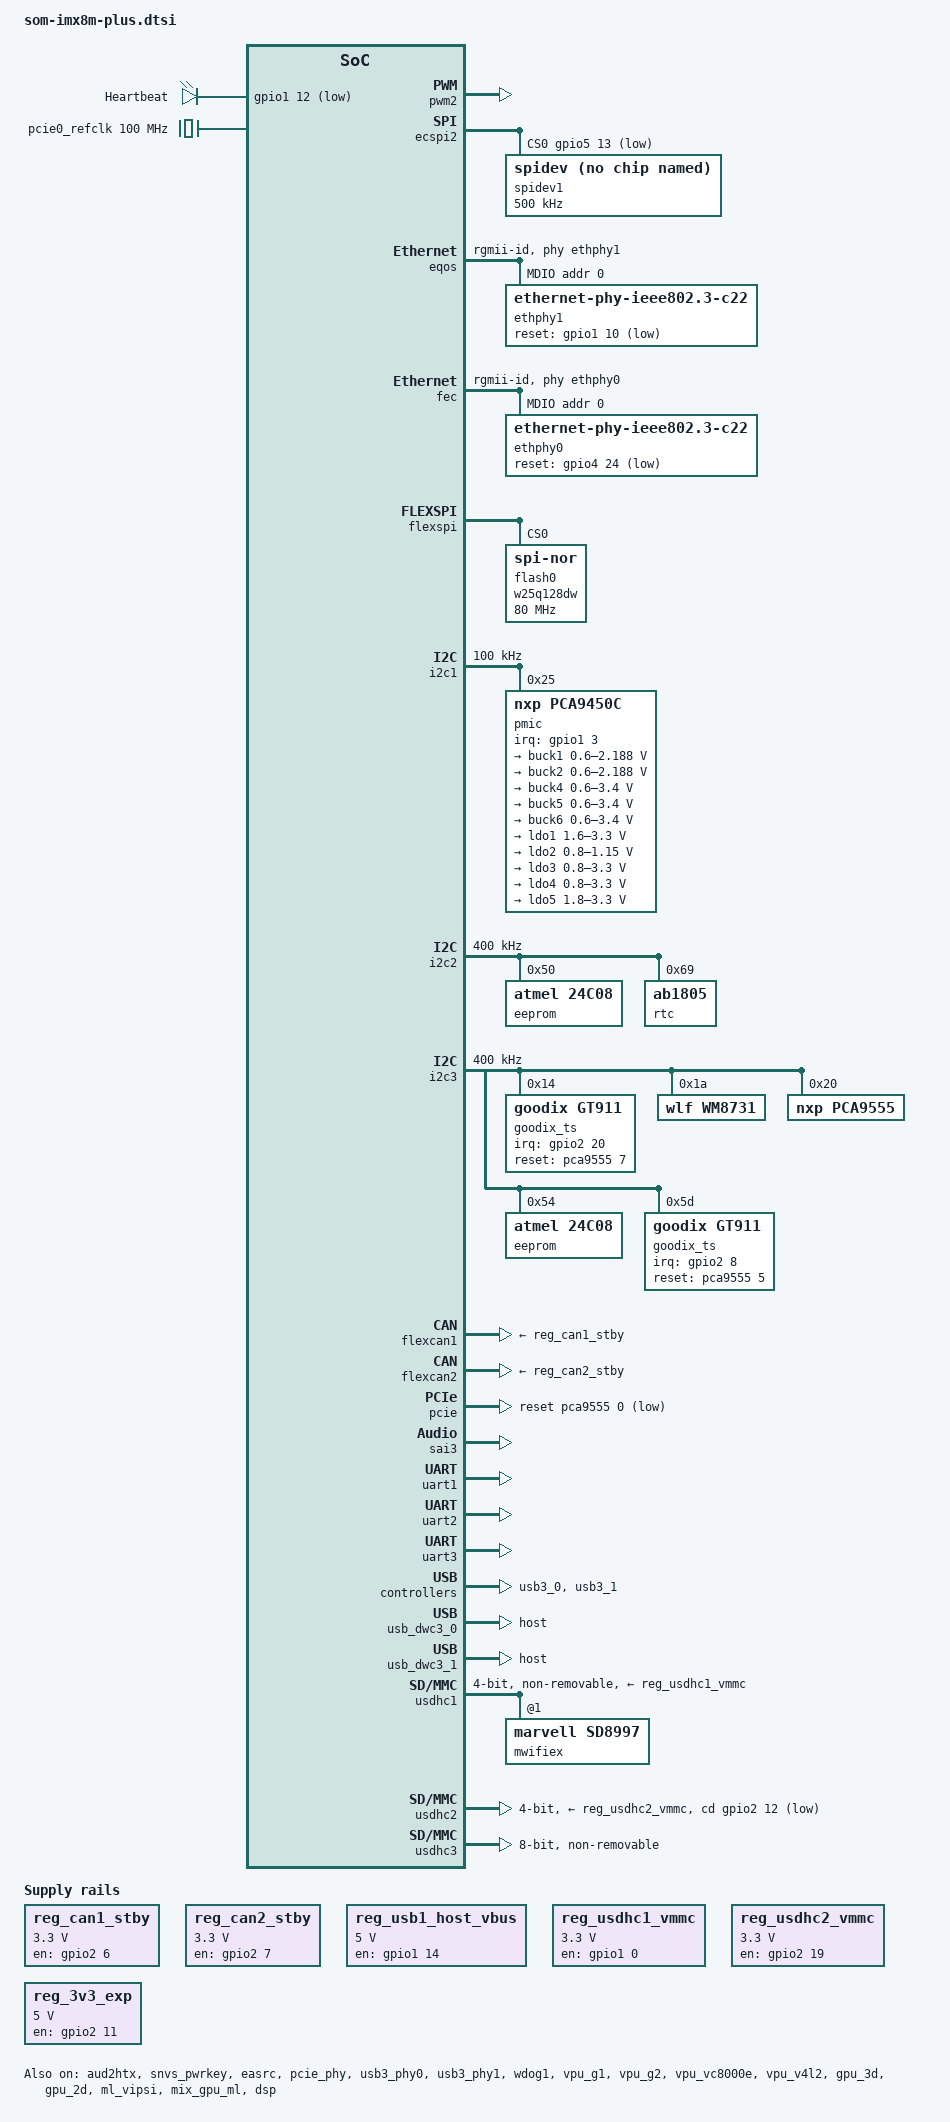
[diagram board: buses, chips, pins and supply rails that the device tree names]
// SPDX-License-Identifier: (GPL-2.0+ OR MIT)
/*
 * Copyright 2021 CompuLab
 */

#include <dt-bindings/phy/phy-imx8-pcie.h>

/ {
	aliases {
		ethphy0 = &ethphy0;
		ethphy1 = &ethphy1;
	};

	chosen {
		stdout-path = &uart2;
	};

	leds {
		compatible = "gpio-leds";
		pinctrl-names = "default";
		pinctrl-0 = <&pinctrl_gpio_led>;

		heartbeat-led {
			label = "Heartbeat";
			gpios = <&gpio1 12 GPIO_ACTIVE_LOW>;
			linux,default-trigger = "heartbeat";
		};
	};

	reg_can1_stby: regulator-can1-stby {
		compatible = "regulator-fixed";
		regulator-name = "can1-stby";
		pinctrl-names = "default";
		pinctrl-0 = <&pinctrl_flexcan1_reg>;
		regulator-min-microvolt = <3300000>;
		regulator-max-microvolt = <3300000>;
		gpio = <&gpio2 6 GPIO_ACTIVE_HIGH>;
		enable-active-high;
	};

	reg_can2_stby: regulator-can2-stby {
		compatible = "regulator-fixed";
		regulator-name = "can2-stby";
		pinctrl-names = "default";
		pinctrl-0 = <&pinctrl_flexcan2_reg>;
		regulator-min-microvolt = <3300000>;
		regulator-max-microvolt = <3300000>;
		gpio = <&gpio2 7 GPIO_ACTIVE_HIGH>;
		enable-active-high;
	};

	reg_usb1_host_vbus: regulator-usb1-vbus {
		compatible = "regulator-fixed";
		regulator-name = "usb1_host_vbus";
		pinctrl-names = "default";
		pinctrl-0 = <&pinctrl_usb1_vbus>;
		regulator-min-microvolt = <5000000>;
		regulator-max-microvolt = <5000000>;
		gpio = <&gpio1 14 GPIO_ACTIVE_HIGH>;
		enable-active-high;
		regulator-always-on;
	};

	reg_usdhc1_vmmc: regulator-usdhc1 {
		compatible = "regulator-fixed";
		regulator-name = "usdhc1_vmmc";
		regulator-min-microvolt = <3300000>;
		regulator-max-microvolt = <3300000>;
		gpio = <&gpio1 0 GPIO_ACTIVE_HIGH>;
		enable-active-high;
		startup-delay-us = <100>;
		off-on-delay-us = <12000>;
	};

	reg_usdhc2_vmmc: regulator-usdhc2 {
		compatible = "regulator-fixed";
		regulator-name = "VSD_3V3";
		regulator-min-microvolt = <3300000>;
		regulator-max-microvolt = <3300000>;
		gpio = <&gpio2 19 GPIO_ACTIVE_HIGH>;
		enable-active-high;
		startup-delay-us = <100>;
		off-on-delay-us = <12000>;
	};

	reg_3v3_exp: regulator-3v3-exp {
		compatible = "regulator-fixed";
		regulator-name = "3V3_EXP";
		pinctrl-names = "default";
		pinctrl-0 = <&pinctrl_3v3_exp>;
		regulator-min-microvolt = <5000000>;
		regulator-max-microvolt = <5000000>;
		gpio = <&gpio2 11 GPIO_ACTIVE_HIGH>;
		enable-active-high;
		regulator-always-on;
	};

	sound-hdmi {
		compatible = "fsl,imx-audio-hdmi";
		model = "audio-hdmi";
		audio-cpu = <&aud2htx>;
		hdmi-out;
		constraint-rate = <44100>,
				<88200>,
				<176400>,
				<32000>,
				<48000>,
				<96000>,
				<192000>;
		status = "okay";
	};

	sound-micfil {
		compatible = "fsl,imx-audio-card";
		model = "imx-audio-micfil";
		pri-dai-link {
			link-name = "micfil hifi";
			format = "i2s";
			cpu {
				sound-dai = <&micfil>;
			};
		};
	};

	sound-xcvr {
		compatible = "fsl,imx-audio-card";
		model = "imx-audio-xcvr";
		pri-dai-link {
			link-name = "XCVR PCM";
			cpu {
				sound-dai = <&xcvr>;
			};
		};
	};

	dsi_backlight: dsi_backlight {
		compatible = "pwm-backlight";
		pwms = <&pwm1 0 3000000 0>;

		brightness-levels = <0 1 2 3 4 5 6 7 8 9 10 11 12 13 14 15 16
					17 18 19 20 21 22 23 24 25 26 27 28 29 30 31 32
					33 34 35 36 37 38 39 40 41 42 43 44 45 46 47 48
					49 50 51 52 53 54 55 56 57 58 59 60 61 62 63 64
					65 66 67 68 69 70 71 72 73 74 75 76 77 78 79 80
					81 82 83 84 85 86 87 88 89 90 91 92 93 94 95 96
					97 98 99 100 101 102 103 104 105 106 107 108 109 110 111 112
					113 114 115 116 117 118 119 120 121 122 123 124 125 126 127 128
					129 130 131 132 133 134 135 136 137 138 139 140 141 142 143 144
					145 146 147 148 149 150 151 152 153 154 155 156 157 158 159 160
					161 162 163 164 165 166 167 168 169 170 171 172 173 174 175 176
					177 178 179 180 181 182 183 184 185 186 187 188 189 190 191 192
					193 194 195 196 197 198 199 200 201 202 203 204 205 206 207 208
					209 210 211 212 213 214 215 216 217 218 219 220 221 222 223 224
					225 226 227 228 229 230 231 232 233 234 235 236 237 238 239 240
					241 242 243 244 245 246 247 248 249 250 251 252 253 254 255>;
		default-brightness-level = <222>;
		status = "disabled";
	};

	lvds_backlight: lvds_backlight {
		compatible = "pwm-backlight";
		pwms = <&pwm2 0 3000000 0>;

		brightness-levels = <0 1 2 3 4 5 6 7 8 9 10 11 12 13 14 15 16
					17 18 19 20 21 22 23 24 25 26 27 28 29 30 31 32
					33 34 35 36 37 38 39 40 41 42 43 44 45 46 47 48
					49 50 51 52 53 54 55 56 57 58 59 60 61 62 63 64
					65 66 67 68 69 70 71 72 73 74 75 76 77 78 79 80
					81 82 83 84 85 86 87 88 89 90 91 92 93 94 95 96
					97 98 99 100 101 102 103 104 105 106 107 108 109 110 111 112
					113 114 115 116 117 118 119 120 121 122 123 124 125 126 127 128
					129 130 131 132 133 134 135 136 137 138 139 140 141 142 143 144
					145 146 147 148 149 150 151 152 153 154 155 156 157 158 159 160
					161 162 163 164 165 166 167 168 169 170 171 172 173 174 175 176
					177 178 179 180 181 182 183 184 185 186 187 188 189 190 191 192
					193 194 195 196 197 198 199 200 201 202 203 204 205 206 207 208
					209 210 211 212 213 214 215 216 217 218 219 220 221 222 223 224
					225 226 227 228 229 230 231 232 233 234 235 236 237 238 239 240
					241 242 243 244 245 246 247 248 249 250 251 252 253 254 255>;
		default-brightness-level = <222>;
		status = "disabled";
	};

	lvds_panel: lvds_panel {
		compatible = "boe,hv070wsa-100";
		backlight = <&lvds_backlight>;
		enable-gpios = <&pca9555 6 GPIO_ACTIVE_HIGH>;
		status = "disabled";

		port {
			panel_lvds_in: endpoint {
				remote-endpoint = <&lvds_out>;
			};
		};
	};

	simple_sound: sound {
		compatible = "simple-audio-card";
		simple-audio-card,name = "som-imx8m-plus";
		simple-audio-card,widgets =
			"Headphone", "Headphone Jack",
			"Line", "Line Out",
			"Microphone", "Mic Jack",
			"Line", "Line In";
		simple-audio-card,routing =
			"Headphone Jack", "RHPOUT",
			"Headphone Jack", "LHPOUT",
			"MICIN", "Mic Bias",
			"Mic Bias", "Mic Jack";
		simple-audio-card,format = "i2s";
		simple-audio-card,bitclock-master = <&sound_master>;
		simple-audio-card,frame-master = <&sound_master>;

		sound_master: simple-audio-card,cpu {
			sound-dai = <&sai3>;
			system-clock-frequency = <0>;
			system-clock-direction = "out";
		};

		sound_codec: simple-audio-card,codec {
			sound-dai = <&wm8731>;
			system-clock-direction = "in";
			system-clock-type = "mclk";
		};
	};

	pcie0_refclk: pcie0-refclk {
		compatible = "fixed-clock";
		#clock-cells = <0>;
		clock-frequency = <100000000>;
	};
};

&A53_0 {
	cpu-supply = <&buck2>;
};

&A53_1 {
	cpu-supply = <&buck2>;
};

&A53_2 {
	cpu-supply = <&buck2>;
};

&A53_3 {
	cpu-supply = <&buck2>;
};

&pwm1 {
	pinctrl-names = "default";
	pinctrl-0 = <&pinctrl_pwm1>;
	status = "disabled";
};

&pwm2 {
	pinctrl-names = "default";
	pinctrl-0 = <&pinctrl_pwm2>;
	status = "okay";
};

&aud2htx {
	status = "okay";
};

&ecspi2 {
	#address-cells = <1>;
	#size-cells = <0>;
	fsl,spi-num-chipselects = <1>;
	pinctrl-names = "default";
	pinctrl-0 = <&pinctrl_ecspi2 &pinctrl_ecspi2_cs>;
	cs-gpios = <&gpio5 13 GPIO_ACTIVE_LOW>;
	status = "okay";

	spidev1: spi@0 {
		reg = <0>;
		compatible = "rohm,dh2228fv";
		spi-max-frequency = <500000>;
	};
};

&eqos {
	pinctrl-names = "default";
	pinctrl-0 = <&pinctrl_eqos>;
	phy-mode = "rgmii-id";
	phy-handle = <&ethphy1>;
	snps,force_thresh_dma_mode;
	snps,mtl-tx-config = <&mtl_tx_setup>;
	snps,mtl-rx-config = <&mtl_rx_setup>;
	status = "okay";

	mdio {
		compatible = "snps,dwmac-mdio";
		#address-cells = <1>;
		#size-cells = <0>;

		ethphy1: ethernet-phy@1 {
			compatible = "ethernet-phy-ieee802.3-c22";
			reset-gpios = <&gpio1 10 GPIO_ACTIVE_LOW>;
			reset-assert-us = <10000>;
			reset-deassert-us = <80000>;
			reg = <0>;
			eee-broken-1000t;
			realtek,clkout-disable;
		};
	};

	mtl_tx_setup: tx-queues-config {
		snps,tx-queues-to-use = <5>;
		snps,tx-sched-sp;
		queue0 {
			snps,dcb-algorithm;
			snps,priority = <0x1>;
		};
		queue1 {
			snps,dcb-algorithm;
			snps,priority = <0x2>;
		};
		queue2 {
			snps,dcb-algorithm;
			snps,priority = <0x4>;
		};
		queue3 {
			snps,dcb-algorithm;
			snps,priority = <0x8>;
		};
		queue4 {
			snps,dcb-algorithm;
			snps,priority = <0xf0>;
		};
	};

	mtl_rx_setup: rx-queues-config {
		snps,rx-queues-to-use = <5>;
		snps,rx-sched-sp;
		queue0 {
			snps,dcb-algorithm;
			snps,priority = <0x1>;
			snps,map-to-dma-channel = <0>;
		};
		queue1 {
			snps,dcb-algorithm;
			snps,priority = <0x2>;
			snps,map-to-dma-channel = <1>;
		};
		queue2 {
			snps,dcb-algorithm;
			snps,priority = <0x4>;
			snps,map-to-dma-channel = <2>;
		};
		queue3 {
			snps,dcb-algorithm;
			snps,priority = <0x8>;
			snps,map-to-dma-channel = <3>;
		};
		queue4 {
			snps,dcb-algorithm;
			snps,priority = <0xf0>;
			snps,map-to-dma-channel = <4>;
		};
	};
};

&fec {
	pinctrl-names = "default";
	pinctrl-0 = <&pinctrl_fec>;
	phy-mode = "rgmii-id";
	phy-handle = <&ethphy0>;
	fsl,magic-packet;
	status = "okay";

	mdio {
		#address-cells = <1>;
		#size-cells = <0>;

		ethphy0: ethernet-phy@0 {
			compatible = "ethernet-phy-ieee802.3-c22";
			reset-gpios = <&gpio4 24 GPIO_ACTIVE_LOW>;
			reset-assert-us = <10000>;
			reset-deassert-us = <80000>;
			reg = <0>;
			eee-broken-1000t;
			realtek,clkout-disable;
		};
	};
};

&flexspi {
	pinctrl-names = "default";
	pinctrl-0 = <&pinctrl_flexspi0>;
	status = "okay";

	flash0: w25q128dw@0 {
		reg = <0>;
		#address-cells = <1>;
		#size-cells = <1>;
		compatible = "jedec,spi-nor";
		spi-max-frequency = <80000000>;
		spi-tx-bus-width = <4>;
		spi-rx-bus-width = <4>;
	};
};

&i2c1 {
	clock-frequency = <100000>;
	pinctrl-names = "default";
	pinctrl-0 = <&pinctrl_i2c1>;
	status = "okay";

	pmic: pca9450@25 {
		reg = <0x25>;
		compatible = "nxp,pca9450c";
		/* PMIC PCA9450 PMIC_nINT GPIO1_IO3 */
		pinctrl-0 = <&pinctrl_pmic>;
		interrupt-parent = <&gpio1>;
		interrupts = <3 GPIO_ACTIVE_LOW>;

		regulators {
			buck1: BUCK1 {
				regulator-name = "BUCK1";
				regulator-min-microvolt = <600000>;
				regulator-max-microvolt = <2187500>;
				regulator-boot-on;
				regulator-always-on;
				regulator-ramp-delay = <3125>;
			};

			buck2: BUCK2 {
				regulator-name = "BUCK2";
				regulator-min-microvolt = <600000>;
				regulator-max-microvolt = <2187500>;
				regulator-boot-on;
				regulator-always-on;
				regulator-ramp-delay = <3125>;
				nxp,dvs-run-voltage = <950000>;
				nxp,dvs-standby-voltage = <850000>;
			};

			buck4: BUCK4{
				regulator-name = "BUCK4";
				regulator-min-microvolt = <600000>;
				regulator-max-microvolt = <3400000>;
				regulator-boot-on;
				regulator-always-on;
			};

			buck5: BUCK5{
				regulator-name = "BUCK5";
				regulator-min-microvolt = <600000>;
				regulator-max-microvolt = <3400000>;
				regulator-boot-on;
				regulator-always-on;
			};

			buck6: BUCK6 {
				regulator-name = "BUCK6";
				regulator-min-microvolt = <600000>;
				regulator-max-microvolt = <3400000>;
				regulator-boot-on;
				regulator-always-on;
			};

			ldo1: LDO1 {
				regulator-name = "LDO1";
				regulator-min-microvolt = <1600000>;
				regulator-max-microvolt = <3300000>;
				regulator-boot-on;
				regulator-always-on;
			};

			ldo2: LDO2 {
				regulator-name = "LDO2";
				regulator-min-microvolt = <800000>;
				regulator-max-microvolt = <1150000>;
				regulator-boot-on;
				regulator-always-on;
			};

			ldo3: LDO3 {
				regulator-name = "LDO3";
				regulator-min-microvolt = <800000>;
				regulator-max-microvolt = <3300000>;
				regulator-boot-on;
				regulator-always-on;
			};

			ldo4: LDO4 {
				regulator-name = "LDO4";
				regulator-min-microvolt = <800000>;
				regulator-max-microvolt = <3300000>;
				regulator-boot-on;
				regulator-always-on;
			};

			ldo5: LDO5 {
				regulator-name = "LDO5";
				regulator-min-microvolt = <1800000>;
				regulator-max-microvolt = <3300000>;
				regulator-boot-on;
				regulator-always-on;
			};
		};
	};
};

&i2c2 {
	clock-frequency = <400000>;
	pinctrl-names = "default";
	pinctrl-0 = <&pinctrl_i2c2>;
	status = "okay";

	eeprom@50 {
		compatible = "atmel,24c08";
		reg = <0x50>;
		pagesize = <16>;
	};

	rtc@69 {
		compatible = "ab1805";
		reg = <0x69>;
		pagesize = <16>;
		sqw = "32768_Hz";
		xt-frequency = <32773500>;
		status = "okay";
	};
};

&i2c3 {
	clock-frequency = <400000>;
	pinctrl-names = "default";
	pinctrl-0 = <&pinctrl_i2c3>;
	status = "okay";

	goodix_ts@14 {
		compatible = "goodix,gt911";
		reg = <0x14>;

		interrupt-parent = <&gpio2>;
		interrupts = <20 IRQ_TYPE_LEVEL_HIGH>;

		pinctrl-names = "default";
		pinctrl-0 = <&touchscreen1_pins>;

		irq-gpios = <&gpio2 20 GPIO_ACTIVE_HIGH>;
		reset-gpios = <&pca9555 7 GPIO_ACTIVE_HIGH>;
		status = "okay";
	};

	wm8731: wm8731@1a {
		#sound-dai-cells = <0>;
		compatible = "wlf,wm8731";
		reg = <0x1a>;
		clocks = <&audio_blk_ctrl IMX8MP_CLK_AUDIO_BLK_CTRL_SAI3_MCLK1>;
		clock-names = "mclk";
		wlf,shared-lrclk;
		status = "okay";
	};

        pca9555:pca9555@20 {
                compatible = "nxp,pca9555";
                gpio-controller;
                #gpio-cells = <2>;
                reg = <0x20>;
        };

	eeprom@54 {
		compatible = "atmel,24c08";
		reg = <0x54>;
		pagesize = <16>;
	};

	goodix_ts@5d {
		compatible = "goodix,gt911";
		reg = <0x5d>;

		interrupt-parent = <&gpio2>;
		interrupts = <8 IRQ_TYPE_LEVEL_HIGH>;

		pinctrl-names = "default";
		pinctrl-0 = <&touchscreen_pins>;

		irq-gpios = <&gpio2 8 GPIO_ACTIVE_HIGH>;
		reset-gpios = <&pca9555 5 GPIO_ACTIVE_HIGH>;
		status = "okay";
	};
};

&i2c4 {
	clock-frequency = <400000>;
	pinctrl-names = "default";
	pinctrl-0 = <&pinctrl_i2c4>;
	status = "disabled";
};

&flexcan1 {
	pinctrl-names = "default";
	pinctrl-0 = <&pinctrl_flexcan1>;
	xceiver-supply = <&reg_can1_stby>;
	status = "okay";
};

&flexcan2 {
	pinctrl-names = "default";
	pinctrl-0 = <&pinctrl_flexcan2>;
	xceiver-supply = <&reg_can2_stby>;
	status = "okay";
};

&snvs_pwrkey {
	status = "okay";
};

&easrc {
	fsl,asrc-rate  = <48000>;
	status = "okay";
};

&micfil {
	#sound-dai-cells = <0>;
	pinctrl-names = "default";
	pinctrl-0 = <&pinctrl_pdm>;
	assigned-clocks = <&clk IMX8MP_CLK_PDM>;
	assigned-clock-parents = <&clk IMX8MP_AUDIO_PLL1_OUT>;
	assigned-clock-rates = <196608000>;
	status = "disabled";
};

&pcie {
	reset-gpio = <&pca9555 0 GPIO_ACTIVE_LOW>;
	clocks = <&clk IMX8MP_CLK_HSIO_ROOT>,
		 <&clk IMX8MP_CLK_PCIE_ROOT>,
		 <&clk IMX8MP_CLK_HSIO_AXI>;
	clock-names = "pcie", "pcie_aux", "pcie_bus";
	assigned-clocks = <&clk IMX8MP_CLK_PCIE_AUX>;
	assigned-clock-rates = <500000000>;
	assigned-clock-parents = <&clk IMX8MP_SYS_PLL2_50M>;
	status = "okay";
};

&pcie_ep{
	clocks = <&clk IMX8MP_CLK_HSIO_ROOT>,
		 <&clk IMX8MP_CLK_PCIE_ROOT>,
		 <&clk IMX8MP_CLK_HSIO_AXI>;
	clock-names = "pcie", "pcie_aux", "pcie_bus";
	assigned-clocks = <&clk IMX8MP_CLK_HSIO_AXI>,
			  <&clk IMX8MP_CLK_PCIE_AUX>;
	assigned-clock-rates = <500000000>, <10000000>;
	assigned-clock-parents = <&clk IMX8MP_SYS_PLL2_500M>,
				 <&clk IMX8MP_SYS_PLL2_50M>;
	status = "disabled";
};

&pcie_phy {
	fsl,refclk-pad-mode = <IMX8_PCIE_REFCLK_PAD_INPUT>;
	clocks = <&pcie0_refclk>;
	fsl,clkreq-unsupported;
	clock-names = "ref";
	status = "okay";
};

&sai2 {
	#sound-dai-cells = <0>;
	pinctrl-names = "default";
	pinctrl-0 = <&pinctrl_sai2>;
	assigned-clocks = <&clk IMX8MP_CLK_SAI2>;
	assigned-clock-parents = <&clk IMX8MP_AUDIO_PLL1_OUT>;
	assigned-clock-rates = <12288000>;
	status = "disabled";
};

&sai3 {
	#sound-dai-cells = <0>;
	pinctrl-names = "default";
	pinctrl-0 = <&pinctrl_sai3>;
	assigned-clocks = <&clk IMX8MP_CLK_SAI3>;
	assigned-clock-parents = <&clk IMX8MP_AUDIO_PLL1_OUT>;
	assigned-clock-rates = <12288000>;
	clocks = <&audio_blk_ctrl IMX8MP_CLK_AUDIO_BLK_CTRL_SAI3_IPG>, <&clk IMX8MP_CLK_DUMMY>,
		 <&audio_blk_ctrl IMX8MP_CLK_AUDIO_BLK_CTRL_SAI3_MCLK1>, <&clk IMX8MP_CLK_DUMMY>,
		 <&clk IMX8MP_CLK_DUMMY>;
	clock-names = "bus", "mclk0", "mclk1", "mclk2", "mclk3";
	fsl,sai-mclk-direction-output;
	status = "okay";
};

&xcvr {
	#sound-dai-cells = <0>;
	status = "disabled";
};

&sdma2 {
	status = "okay";
};

&uart1 { /* BT */
	/delete-property/dma-names;
	/delete-property/dmas;
	pinctrl-names = "default";
	pinctrl-0 = <&pinctrl_uart1>;
	assigned-clocks = <&clk IMX8MP_CLK_UART1>;
	assigned-clock-parents = <&clk IMX8MP_SYS_PLL1_80M>;
	fsl,uart-has-rtscts;
	status = "okay";
};

&uart2 {
	/* console */
	pinctrl-names = "default";
	pinctrl-0 = <&pinctrl_uart2>;
	assigned-clocks = <&clk IMX8MP_CLK_UART2>;
	assigned-clock-parents = <&clk IMX8MP_SYS_PLL1_80M>;
	status = "okay";
};

&uart3 {
	pinctrl-names = "default";
	pinctrl-0 = <&pinctrl_uart3>;
	assigned-clocks = <&clk IMX8MP_CLK_UART3>;
	assigned-clock-parents = <&clk IMX8MP_SYS_PLL1_80M>;
	fsl,uart-has-rtscts;
	status = "okay";
};

&usb3_phy0 {
	fsl,phy-tx-preemp-amp-tune = <3>;
	status = "okay";
};

&usb3_0 {
	status = "okay";
};

&usb_dwc3_0 {
	dr_mode = "host";
	status = "okay";
};

&usb3_phy1 {
	fsl,phy-tx-preemp-amp-tune = <3>;
	fsl,phy-tx-vref-tune = <0xb>;
	status = "okay";
};

&usb3_1 {
	status = "okay";
};

&usb_dwc3_1 {
	dr_mode = "host";
	status = "okay";
};

&usdhc1 {
	assigned-clocks = <&clk IMX8MP_CLK_USDHC1>;
	assigned-clock-rates = <400000000>;
	pinctrl-names = "default", "state_100mhz", "state_200mhz";
	pinctrl-0 = <&pinctrl_usdhc1>, <&pinctrl_usdhc1_gpio>;
	pinctrl-1 = <&pinctrl_usdhc1_100mhz>, <&pinctrl_usdhc1_gpio>;
	pinctrl-2 = <&pinctrl_usdhc1_200mhz>, <&pinctrl_usdhc1_gpio>;
	vmmc-supply = <&reg_usdhc1_vmmc>;
	cap-power-off-card;
	keep-power-in-suspend;
	non-removable;
	no-1-8-v;
	bus-width = <4>;
	status = "okay";

	#address-cells = <1>;
	#size-cells = <0>;
	mwifiex: wifi@1 {
		compatible = "marvell,sd8997";
		reg = <1>;
	};
};

&usdhc2 {
	assigned-clocks = <&clk IMX8MP_CLK_USDHC2>;
	assigned-clock-rates = <400000000>;
	pinctrl-names = "default", "state_100mhz", "state_200mhz";
	pinctrl-0 = <&pinctrl_usdhc2>, <&pinctrl_usdhc2_gpio>;
	pinctrl-1 = <&pinctrl_usdhc2_100mhz>, <&pinctrl_usdhc2_gpio>;
	pinctrl-2 = <&pinctrl_usdhc2_200mhz>, <&pinctrl_usdhc2_gpio>;
	cd-gpios = <&gpio2 12 GPIO_ACTIVE_LOW>;
	vmmc-supply = <&reg_usdhc2_vmmc>;
	bus-width = <4>;
	status = "okay";
};

&usdhc3 {
	assigned-clocks = <&clk IMX8MP_CLK_USDHC3>;
	assigned-clock-rates = <400000000>;
	pinctrl-names = "default", "state_100mhz", "state_200mhz";
	pinctrl-0 = <&pinctrl_usdhc3>;
	pinctrl-1 = <&pinctrl_usdhc3_100mhz>;
	pinctrl-2 = <&pinctrl_usdhc3_200mhz>;
	bus-width = <8>;
	non-removable;
	status = "okay";
};

&wdog1 {
	pinctrl-names = "default";
	pinctrl-0 = <&pinctrl_wdog>;
	fsl,ext-reset-output;
	status = "okay";
};

&vpu_g1 {
	status = "okay";
};

&vpu_g2 {
	status = "okay";
};

&vpu_vc8000e {
	status = "okay";
};

&vpu_v4l2 {
	status = "okay";
};

&gpu_3d {
	status = "okay";
};

&gpu_2d {
	status = "okay";
};

&ml_vipsi {
	status = "okay";
};

&mix_gpu_ml {
	status = "okay";
};

&mipi_csi_0 {
	#address-cells = <1>;
	#size-cells = <0>;
	status = "disabled";
};

&mipi_csi_1 {
	#address-cells = <1>;
	#size-cells = <0>;
	status = "disabled";
};


&cameradev {
	status = "disabled";
};

&isi_0 {
	status = "disabled";
	fsl,chain_buf;

	cap_device {
		status = "okay";
	};

};

&isi_1 {
	status = "disabled";
	fsl,chain_buf;

	cap_device {
		status = "okay";
	};
};

&dsp {
	status = "okay";
};

&resmem {
	/* global autoconfigured region for contiguous allocations */
	linux,cma {
		compatible = "shared-dma-pool";
		reusable;
		size = <0 0x2c000000>;
		alloc-ranges = <0 0x40000000 0 0x80000000>;
		linux,cma-default;
	};
};

&mipi_dsi {
	#address-cells = <1>;
	#size-cells = <0>;
	status = "disabled";
	backlight = <&dsi_backlight>;

	mipi_panel: panel@0 {
		compatible = "startek,kd050hdfia020";
		reg = <0>;
		reset-gpio = <&pca9555 4 GPIO_ACTIVE_LOW>;
		dsi-lanes = <4>;
		status = "disabled";
	};
};

&ldb {
	status = "disabled";
	lvds-channel@0 {
		fsl,data-mapping = "spwg";
		fsl,data-width = <24>;
		status = "okay";

		port@1 {
			reg = <1>;

			lvds_out: endpoint {
				remote-endpoint = <&panel_lvds_in>;
			};
		};
	};
};
